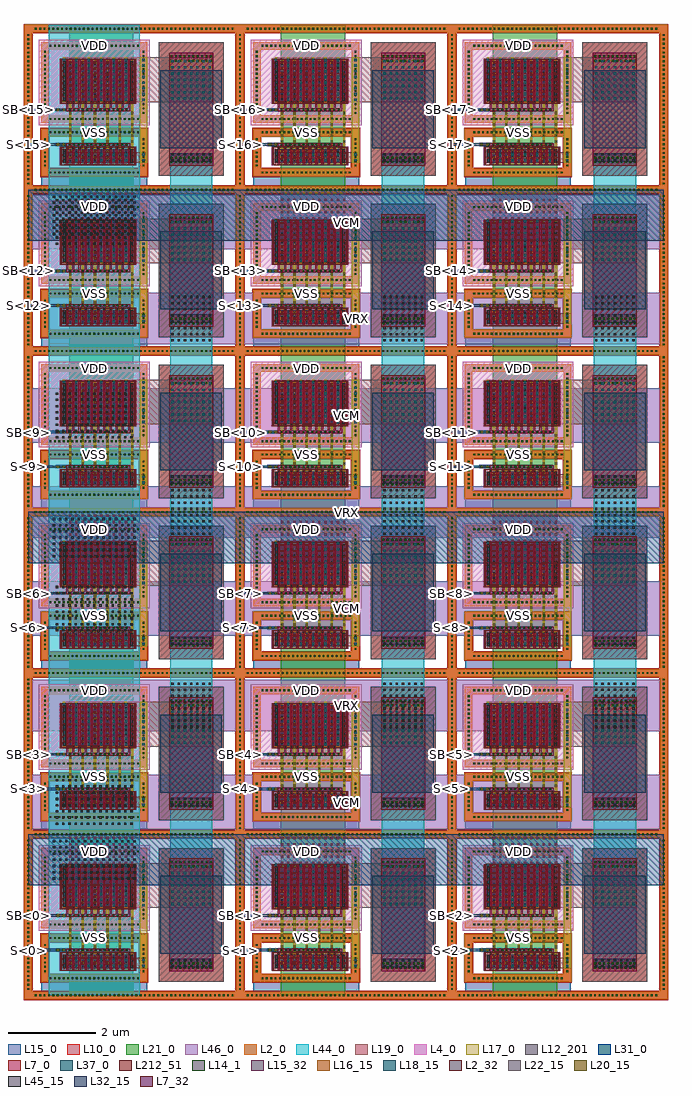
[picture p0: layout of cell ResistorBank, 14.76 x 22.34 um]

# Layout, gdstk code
import gdstk
lib = gdstk.Library(unit=1e-6, precision=1e-09)
def R(c, l, rs):  # rectangles x0, y0, x1, y1
    for r in rs: c.add(gdstk.rectangle(r[:2], r[2:], *l))
def A(c, l, x, y, w, h, nx, ny, dx, dy):  # array of equal rectangles
    R(c, l, [(x+i*dx, y+j*dy, x+i*dx+w, y+j*dy+h) for i in range(nx) for j in range(ny)])
L2_0 = (2, 0)
L2_32 = (2, 32)
L4_0 = (4, 0)
L7_0 = (7, 0)
L7_32 = (7, 32)
L10_0 = (10, 0)
L12_201 = (12, 201)
L14_1 = (14, 1)
L15_0 = (15, 0)
L15_32 = (15, 32)
L16_15 = (16, 15)
L17_0 = (17, 0)
L18_15 = (18, 15)
L19_0 = (19, 0)
L20_15 = (20, 15)
L21_0 = (21, 0)
L22_15 = (22, 15)
L31_0 = (31, 0)
L32_15 = (32, 15)
L37_0 = (37, 0)
L44_0 = (44, 0)
L45_15 = (45, 15)
L46_0 = (46, 0)
L212_51 = (212, 51)

nmosintransmissiongate = lib.new_cell('NMOSInTransmissionGate')
R(nmosintransmissiongate, L2_0, [(-0.809,-0.154,0.809,0.154)])
R(nmosintransmissiongate, L2_32, [(-0.809,-0.154,-0.733,0.154), (0.733,-0.154,0.809,0.154)])
A(nmosintransmissiongate, L7_0, -0.875, -0.211, 0.046, 0.422, 13, 1, 0.142, 0)
A(nmosintransmissiongate, L7_32, -0.733, -0.211, 0.046, 0.057, 11, 1, 0.142, 0)
A(nmosintransmissiongate, L14_1, -0.801, -0.12, 0.04, 0.04, 12, 3, 0.142, 0.1)
A(nmosintransmissiongate, L15_0, -0.806, -0.154, 0.05, 0.308, 12, 1, 0.142, 0)
A(nmosintransmissiongate, L15_32, -0.806, -0.154, 0.05, 0.308, 12, 1, 0.142, 0)
R(nmosintransmissiongate, L212_51, [(-0.852,-0.21,0.852,0.21)])

pmosintransmissiongate = lib.new_cell('PMOSInTransmissionGate')
R(pmosintransmissiongate, L2_0, [(-0.809,-0.462,0.809,0.462)])
R(pmosintransmissiongate, L2_32, [(-0.809,-0.462,-0.733,0.462), (0.733,-0.462,0.809,0.462)])
A(pmosintransmissiongate, L7_0, -0.875, -0.519, 0.046, 1.038, 13, 1, 0.142, 0)
A(pmosintransmissiongate, L7_32, -0.733, -0.519, 0.046, 0.057, 11, 1, 0.142, 0)
R(pmosintransmissiongate, L10_0, [(-0.865,-0.519,0.865,0.519)])
A(pmosintransmissiongate, L14_1, -0.801, -0.42, 0.04, 0.04, 12, 9, 0.142, 0.1)
A(pmosintransmissiongate, L15_0, -0.806, -0.462, 0.05, 0.924, 12, 1, 0.142, 0)
A(pmosintransmissiongate, L15_32, -0.806, -0.462, 0.05, 0.924, 12, 1, 0.142, 0)
R(pmosintransmissiongate, L212_51, [(-0.852,-0.518,0.852,0.518)])

viamet12met2onpmosoutput = lib.new_cell('ViaMet12Met2OnPMOSOutputInTransmissionGate')
R(viamet12met2onpmosoutput, L15_0, [(-0.025,-0.512,0.025,0.512)])
A(viamet12met2onpmosoutput, L16_15, -0.025, -0.48, 0.05, 0.05, 1, 8, 0, 0.13)
R(viamet12met2onpmosoutput, L17_0, [(-0.025,-0.512,0.025,0.512)])

viamet22met3onpmosoutput = lib.new_cell('ViaMet22Met3OnPMOSOutputInTransmissionGate')
R(viamet22met3onpmosoutput, L17_0, [(-0.025,-0.512,0.025,0.512)])
A(viamet22met3onpmosoutput, L18_15, -0.025, -0.48, 0.05, 0.05, 1, 8, 0, 0.13)
R(viamet22met3onpmosoutput, L19_0, [(-0.025,-0.512,0.025,0.512)])

viamet12met2onnmosoutput = lib.new_cell('ViaMet12Met2OnNMOSOutputInTransmissionGate')
R(viamet12met2onnmosoutput, L15_0, [(-0.025,-0.122,0.025,0.122)])
R(viamet12met2onnmosoutput, L16_15, [(-0.025,-0.09,0.025,-0.04), (-0.025,0.04,0.025,0.09)])
R(viamet12met2onnmosoutput, L17_0, [(-0.025,-0.122,0.025,0.122)])

viamet22met3onnmosoutput = lib.new_cell('ViaMet22Met3OnNMOSOutputInTransmissionGate')
R(viamet22met3onnmosoutput, L17_0, [(-0.025,-0.122,0.025,0.122)])
R(viamet22met3onnmosoutput, L18_15, [(-0.025,-0.09,0.025,-0.04), (-0.025,0.04,0.025,0.09)])
R(viamet22met3onnmosoutput, L19_0, [(-0.025,-0.122,0.025,0.122)])

viapoly2met1onpmoscontro = lib.new_cell('ViaPoly2Met1OnPMOSControlInTransmissionGate')
R(viapoly2met1onpmoscontro, L7_0, [(-0.68,-0.03,0.68,0.03)])
A(viapoly2met1onpmoscontro, L14_1, -0.67, -0.02, 0.04, 0.04, 14, 1, 0.1, 0)
R(viapoly2met1onpmoscontro, L15_0, [(-0.691,-0.041,0.691,0.041)])

viapoly2met1onnmoscontro = lib.new_cell('ViaPoly2Met1OnNMOSControlInTransmissionGate')
R(viapoly2met1onnmoscontro, L7_0, [(-0.68,-0.03,0.68,0.03)])
A(viapoly2met1onnmoscontro, L14_1, -0.67, -0.02, 0.04, 0.04, 14, 1, 0.1, 0)
R(viapoly2met1onnmoscontro, L15_0, [(-0.691,-0.041,0.691,0.041)])

transmissiongateinresist = lib.new_cell('TransmissionGateInResistorBank')
transmissiongateinresist.add(gdstk.FlexPath([(-0.71,0.379),(-0.71,0.674)], 0.046, ends="flush", simple_path=True, layer=7, datatype=0))  # L7_0
transmissiongateinresist.add(gdstk.FlexPath([(-0.568,0.379),(-0.568,0.674)], 0.046, ends="flush", simple_path=True, layer=7, datatype=0))  # L7_0
transmissiongateinresist.add(gdstk.FlexPath([(-0.426,0.379),(-0.426,0.674)], 0.046, ends="flush", simple_path=True, layer=7, datatype=0))  # L7_0
transmissiongateinresist.add(gdstk.FlexPath([(-0.284,0.379),(-0.284,0.674)], 0.046, ends="flush", simple_path=True, layer=7, datatype=0))  # L7_0
transmissiongateinresist.add(gdstk.FlexPath([(-0.142,0.379),(-0.142,0.674)], 0.046, ends="flush", simple_path=True, layer=7, datatype=0))  # L7_0
transmissiongateinresist.add(gdstk.FlexPath([(0,0.379),(0,0.674)], 0.046, ends="flush", simple_path=True, layer=7, datatype=0))  # L7_0
transmissiongateinresist.add(gdstk.FlexPath([(0.142,0.379),(0.142,0.674)], 0.046, ends="flush", simple_path=True, layer=7, datatype=0))  # L7_0
transmissiongateinresist.add(gdstk.FlexPath([(0.284,0.379),(0.284,0.674)], 0.046, ends="flush", simple_path=True, layer=7, datatype=0))  # L7_0
transmissiongateinresist.add(gdstk.FlexPath([(0.426,0.379),(0.426,0.674)], 0.046, ends="flush", simple_path=True, layer=7, datatype=0))  # L7_0
transmissiongateinresist.add(gdstk.FlexPath([(0.568,0.379),(0.568,0.674)], 0.046, ends="flush", simple_path=True, layer=7, datatype=0))  # L7_0
transmissiongateinresist.add(gdstk.FlexPath([(0.71,0.379),(0.71,0.674)], 0.046, ends="flush", simple_path=True, layer=7, datatype=0))  # L7_0
transmissiongateinresist.add(gdstk.FlexPath([(-0.71,2.092),(-0.71,1.407)], 0.046, ends="flush", simple_path=True, layer=7, datatype=0))  # L7_0
transmissiongateinresist.add(gdstk.FlexPath([(-0.568,2.092),(-0.568,1.407)], 0.046, ends="flush", simple_path=True, layer=7, datatype=0))  # L7_0
transmissiongateinresist.add(gdstk.FlexPath([(-0.426,2.092),(-0.426,1.407)], 0.046, ends="flush", simple_path=True, layer=7, datatype=0))  # L7_0
transmissiongateinresist.add(gdstk.FlexPath([(-0.284,2.092),(-0.284,1.407)], 0.046, ends="flush", simple_path=True, layer=7, datatype=0))  # L7_0
transmissiongateinresist.add(gdstk.FlexPath([(-0.142,2.092),(-0.142,1.407)], 0.046, ends="flush", simple_path=True, layer=7, datatype=0))  # L7_0
transmissiongateinresist.add(gdstk.FlexPath([(0,2.092),(0,1.407)], 0.046, ends="flush", simple_path=True, layer=7, datatype=0))  # L7_0
transmissiongateinresist.add(gdstk.FlexPath([(0.142,2.092),(0.142,1.407)], 0.046, ends="flush", simple_path=True, layer=7, datatype=0))  # L7_0
transmissiongateinresist.add(gdstk.FlexPath([(0.284,2.092),(0.284,1.407)], 0.046, ends="flush", simple_path=True, layer=7, datatype=0))  # L7_0
transmissiongateinresist.add(gdstk.FlexPath([(0.426,2.092),(0.426,1.407)], 0.046, ends="flush", simple_path=True, layer=7, datatype=0))  # L7_0
transmissiongateinresist.add(gdstk.FlexPath([(0.568,2.092),(0.568,1.407)], 0.046, ends="flush", simple_path=True, layer=7, datatype=0))  # L7_0
transmissiongateinresist.add(gdstk.FlexPath([(0.71,2.092),(0.71,1.407)], 0.046, ends="flush", simple_path=True, layer=7, datatype=0))  # L7_0
transmissiongateinresist.add(gdstk.FlexPath([(-0.71,0.644),(0.71,0.644)], 0.06, ends="flush", simple_path=True, layer=7, datatype=0))  # L7_0
transmissiongateinresist.add(gdstk.FlexPath([(-0.71,1.437),(0.71,1.437)], 0.06, ends="flush", simple_path=True, layer=7, datatype=0))  # L7_0
transmissiongateinresist.add(gdstk.Reference(nmosintransmissiongate, (0,0.379), x_reflection=True))
transmissiongateinresist.add(gdstk.Reference(pmosintransmissiongate, (0,2.092)))
transmissiongateinresist.add(gdstk.Reference(viamet12met2onpmosoutput, (-0.639,2.06)))
transmissiongateinresist.add(gdstk.Reference(viamet12met2onpmosoutput, (-0.355,2.06)))
transmissiongateinresist.add(gdstk.Reference(viamet12met2onpmosoutput, (-0.071,2.06)))
transmissiongateinresist.add(gdstk.Reference(viamet12met2onpmosoutput, (0.213,2.06)))
transmissiongateinresist.add(gdstk.Reference(viamet12met2onpmosoutput, (0.497,2.06)))
transmissiongateinresist.add(gdstk.Reference(viamet12met2onpmosoutput, (0.781,2.06)))
transmissiongateinresist.add(gdstk.Reference(viamet12met2onpmosoutput, (-0.781,2.124)))
transmissiongateinresist.add(gdstk.Reference(viamet12met2onpmosoutput, (-0.497,2.124)))
transmissiongateinresist.add(gdstk.Reference(viamet12met2onpmosoutput, (-0.213,2.124)))
transmissiongateinresist.add(gdstk.Reference(viamet12met2onpmosoutput, (0.071,2.124)))
transmissiongateinresist.add(gdstk.Reference(viamet12met2onpmosoutput, (0.355,2.124)))
transmissiongateinresist.add(gdstk.Reference(viamet12met2onpmosoutput, (0.639,2.124)))
transmissiongateinresist.add(gdstk.Reference(viamet22met3onpmosoutput, (-0.781,2.124)))
transmissiongateinresist.add(gdstk.Reference(viamet22met3onpmosoutput, (-0.497,2.124)))
transmissiongateinresist.add(gdstk.Reference(viamet22met3onpmosoutput, (-0.213,2.124)))
transmissiongateinresist.add(gdstk.Reference(viamet22met3onpmosoutput, (0.071,2.124)))
transmissiongateinresist.add(gdstk.Reference(viamet22met3onpmosoutput, (0.355,2.124)))
transmissiongateinresist.add(gdstk.Reference(viamet22met3onpmosoutput, (0.639,2.124)))
transmissiongateinresist.add(gdstk.Reference(viamet12met2onnmosoutput, (-0.639,0.411)))
transmissiongateinresist.add(gdstk.Reference(viamet12met2onnmosoutput, (-0.355,0.411)))
transmissiongateinresist.add(gdstk.Reference(viamet12met2onnmosoutput, (-0.071,0.411)))
transmissiongateinresist.add(gdstk.Reference(viamet12met2onnmosoutput, (0.213,0.411)))
transmissiongateinresist.add(gdstk.Reference(viamet12met2onnmosoutput, (0.497,0.411)))
transmissiongateinresist.add(gdstk.Reference(viamet12met2onnmosoutput, (0.781,0.411)))
transmissiongateinresist.add(gdstk.Reference(viamet12met2onnmosoutput, (-0.781,0.347)))
transmissiongateinresist.add(gdstk.Reference(viamet12met2onnmosoutput, (-0.497,0.347)))
transmissiongateinresist.add(gdstk.Reference(viamet12met2onnmosoutput, (-0.213,0.347)))
transmissiongateinresist.add(gdstk.Reference(viamet12met2onnmosoutput, (0.071,0.347)))
transmissiongateinresist.add(gdstk.Reference(viamet12met2onnmosoutput, (0.355,0.347)))
transmissiongateinresist.add(gdstk.Reference(viamet12met2onnmosoutput, (0.639,0.347)))
transmissiongateinresist.add(gdstk.Reference(viamet22met3onnmosoutput, (-0.781,0.347)))
transmissiongateinresist.add(gdstk.Reference(viamet22met3onnmosoutput, (-0.497,0.347)))
transmissiongateinresist.add(gdstk.Reference(viamet22met3onnmosoutput, (-0.213,0.347)))
transmissiongateinresist.add(gdstk.Reference(viamet22met3onnmosoutput, (0.071,0.347)))
transmissiongateinresist.add(gdstk.Reference(viamet22met3onnmosoutput, (0.355,0.347)))
transmissiongateinresist.add(gdstk.Reference(viamet22met3onnmosoutput, (0.639,0.347)))
transmissiongateinresist.add(gdstk.Reference(viapoly2met1onpmoscontro, (0,1.437)))
transmissiongateinresist.add(gdstk.Reference(viapoly2met1onnmoscontro, (0,0.644)))

viamet12met2oninputinres = lib.new_cell('ViaMet12Met2OnInputInResistorBank')
R(viamet12met2oninputinres, L15_0, [(-0.122,-0.025,0.122,0.025)])
R(viamet12met2oninputinres, L16_15, [(-0.09,-0.025,-0.04,0.025), (0.04,-0.025,0.09,0.025)])
R(viamet12met2oninputinres, L17_0, [(-0.122,-0.025,0.122,0.025)])

viamet22met3oninputinres = lib.new_cell('ViaMet22Met3OnInputInResistorBank')
R(viamet22met3oninputinres, L17_0, [(-0.122,-0.025,0.122,0.025)])
R(viamet22met3oninputinres, L18_15, [(-0.09,-0.025,-0.04,0.025), (0.04,-0.025,0.09,0.025)])
R(viamet22met3oninputinres, L19_0, [(-0.122,-0.025,0.122,0.025)])

viamet32met4oninputinres = lib.new_cell('ViaMet32Met4OnInputInResistorBank')
R(viamet32met4oninputinres, L19_0, [(-0.122,-0.025,0.122,0.025)])
R(viamet32met4oninputinres, L20_15, [(-0.09,-0.025,-0.04,0.025), (0.04,-0.025,0.09,0.025)])
R(viamet32met4oninputinres, L21_0, [(-0.122,-0.025,0.122,0.025)])

viamet42met5oninputinres = lib.new_cell('ViaMet42Met5OnInputInResistorBank')
R(viamet42met5oninputinres, L21_0, [(-0.122,-0.025,0.122,0.025)])
R(viamet42met5oninputinres, L22_15, [(-0.09,-0.025,-0.04,0.025), (0.04,-0.025,0.09,0.025)])
R(viamet42met5oninputinres, L31_0, [(-0.122,-0.025,0.122,0.025)])

opppcresinresistorbank = lib.new_cell('OpppcresInResistorBank')
R(opppcresinresistorbank, L7_0, [(-0.504,-1.289,0.504,1.289)])
R(opppcresinresistorbank, L10_0, [(-0.744,-1.529,0.744,1.529)])
R(opppcresinresistorbank, L12_201, [(-0.744,-1.529,0.744,1.529)])
A(opppcresinresistorbank, L14_1, -0.47, -1.229, 0.04, 0.04, 10, 2, 0.1, 0.1)
A(opppcresinresistorbank, L14_1, -0.47, 1.089, 0.04, 0.04, 10, 2, 0.1, 0.1)
R(opppcresinresistorbank, L15_0, [(-0.482,-1.241,0.482,-1.077), (-0.482,1.077,0.482,1.241)])
R(opppcresinresistorbank, L37_0, [(-0.704,-0.889,0.704,0.889)])

pmossubringinresistorban = lib.new_cell('PMOSSubringInResistorBank')
R(pmossubringinresistorban, L2_0, [(-1.214,-0.922,1.214,-0.752), (-1.214,-0.922,-1.044,0.922), (1.044,-0.922,1.214,0.922), (-1.214,0.752,1.214,0.922)])
A(pmossubringinresistorban, L14_1, -1.02, -0.857, 0.04, 0.04, 21, 2, 0.1, 1.674)
A(pmossubringinresistorban, L14_1, -1.149, -0.72, 0.04, 0.04, 1, 15, 0, 0.1)
A(pmossubringinresistorban, L14_1, 1.109, -0.72, 0.04, 0.04, 1, 15, 0, 0.1)
R(pmossubringinresistorban, L15_0, [(-1.214,-0.922,1.214,-0.752), (-1.214,-0.922,-1.044,0.922), (1.044,-0.922,1.214,0.922), (-1.214,0.752,1.214,0.922)])
pmossubringinresistorban.add(gdstk.FlexPath([(1.129,0.978),(1.129,-0.837),(-1.129,-0.837),(-1.129,0.837),(1.27,0.837)], 0.282, ends="flush", simple_path=True, layer=4, datatype=0))  # L4_0

nmossubringinresistorban = lib.new_cell('NMOSSubringInResistorBank')
R(nmossubringinresistorban, L2_0, [(-1.214,-0.546,1.214,-0.376), (-1.214,-0.546,-1.044,0.546), (1.044,-0.546,1.214,0.546), (-1.214,0.376,1.214,0.546)])
A(nmossubringinresistorban, L14_1, -1.02, -0.481, 0.04, 0.04, 21, 2, 0.1, 0.922)
A(nmossubringinresistorban, L14_1, -1.149, -0.32, 0.04, 0.04, 1, 7, 0, 0.1)
A(nmossubringinresistorban, L14_1, 1.109, -0.32, 0.04, 0.04, 1, 7, 0, 0.1)
R(nmossubringinresistorban, L15_0, [(-1.214,-0.546,1.214,-0.376), (-1.214,-0.546,-1.044,0.546), (1.044,-0.546,1.214,0.546), (-1.214,0.376,1.214,0.546)])
nmossubringinresistorban.add(gdstk.FlexPath([(1.129,0.567),(1.129,-0.461),(-1.129,-0.461),(-1.129,0.461),(1.235,0.461)], 0.212, ends="flush", simple_path=True, layer=10, datatype=0))  # L10_0

totalsubringinresistorba = lib.new_cell('TotalSubringInResistorBank')
R(totalsubringinresistorba, L2_0, [(-2.51,-1.929,2.51,-1.759), (-2.51,-1.929,-2.34,1.929), (2.34,-1.929,2.51,1.929), (-2.51,1.759,2.51,1.929)])
A(totalsubringinresistorba, L14_1, -2.27, -1.864, 0.04, 0.04, 46, 2, 0.1, 3.688)
A(totalsubringinresistorba, L14_1, -2.445, -1.72, 0.04, 0.04, 1, 35, 0, 0.1)
A(totalsubringinresistorba, L14_1, 2.405, -1.72, 0.04, 0.04, 1, 35, 0, 0.1)
R(totalsubringinresistorba, L15_0, [(-2.51,-1.929,2.51,-1.759), (-2.51,-1.929,-2.34,1.929), (2.34,-1.929,2.51,1.929), (-2.51,1.759,2.51,1.929)])
totalsubringinresistorba.add(gdstk.FlexPath([(2.425,1.95),(2.425,-1.844),(-2.425,-1.844),(-2.425,1.844),(2.531,1.844)], 0.212, ends="flush", simple_path=True, layer=10, datatype=0))  # L10_0

viamet12met2onresistorin = lib.new_cell('ViaMet12Met2OnResistorInResistorBank')
R(viamet12met2onresistorin, L15_0, [(-0.483,-0.451,0.483,0.451)])
A(viamet12met2onresistorin, L16_15, -0.451, -0.451, 0.05, 0.05, 7, 7, 0.142, 0.142)
R(viamet12met2onresistorin, L17_0, [(-0.483,-0.451,0.483,0.451)])

viamet12met2onresistor1i = lib.new_cell('ViaMet12Met2OnResistor1InResistorBank')
R(viamet12met2onresistor1i, L15_0, [(-0.483,-0.096,0.483,0.096)])
A(viamet12met2onresistor1i, L16_15, -0.451, -0.096, 0.05, 0.05, 7, 2, 0.142, 0.142)
R(viamet12met2onresistor1i, L17_0, [(-0.483,-0.096,0.483,0.096)])

viamet22met3onresistorin = lib.new_cell('ViaMet22Met3OnResistorInResistorBank')
R(viamet22met3onresistorin, L17_0, [(-0.483,-0.451,0.483,0.451)])
A(viamet22met3onresistorin, L18_15, -0.451, -0.451, 0.05, 0.05, 7, 7, 0.142, 0.142)
R(viamet22met3onresistorin, L19_0, [(-0.483,-0.451,0.483,0.451)])

viamet22met3onresistor1i = lib.new_cell('ViaMet22Met3OnResistor1InResistorBank')
R(viamet22met3onresistor1i, L17_0, [(-0.483,-0.096,0.483,0.096)])
A(viamet22met3onresistor1i, L18_15, -0.451, -0.096, 0.05, 0.05, 7, 2, 0.142, 0.142)
R(viamet22met3onresistor1i, L19_0, [(-0.483,-0.096,0.483,0.096)])

viamet32met4onresistorin = lib.new_cell('ViaMet32Met4OnResistorInResistorBank')
R(viamet32met4onresistorin, L19_0, [(-0.483,-0.096,0.483,0.096)])
A(viamet32met4onresistorin, L20_15, -0.451, -0.096, 0.05, 0.05, 7, 2, 0.142, 0.142)
R(viamet32met4onresistorin, L21_0, [(-0.483,-0.096,0.483,0.096)])

viamet42met5onresistorin = lib.new_cell('ViaMet42Met5OnResistorInResistorBank')
R(viamet42met5onresistorin, L21_0, [(-0.483,-0.096,0.483,0.096)])
A(viamet42met5onresistorin, L22_15, -0.451, -0.096, 0.05, 0.05, 7, 2, 0.142, 0.142)
R(viamet42met5onresistorin, L31_0, [(-0.483,-0.096,0.483,0.096)])

viamet52met6onresistorin = lib.new_cell('ViaMet52Met6OnResistorInResistorBank')
R(viamet52met6onresistorin, L31_0, [(-0.483,-0.096,0.483,0.096)])
A(viamet52met6onresistorin, L32_15, -0.451, -0.096, 0.05, 0.05, 7, 2, 0.142, 0.142)
R(viamet52met6onresistorin, L44_0, [(-0.483,-0.096,0.483,0.096)])

viavcmmet22met3inresisto = lib.new_cell('ViaVCMMet22Met3InResistorBank')
R(viavcmmet22met3inresisto, L17_0, [(-0.025,-0.382,0.025,0.382)])
A(viavcmmet22met3inresisto, L18_15, -0.025, -0.35, 0.05, 0.05, 1, 6, 0, 0.13)
R(viavcmmet22met3inresisto, L19_0, [(-0.025,-0.382,0.025,0.382)])

viavcmmet32met4inresisto = lib.new_cell('ViaVCMMet32Met4InResistorBank')
R(viavcmmet32met4inresisto, L19_0, [(-0.025,-0.382,0.025,0.382)])
A(viavcmmet32met4inresisto, L20_15, -0.025, -0.35, 0.05, 0.05, 1, 6, 0, 0.13)
R(viavcmmet32met4inresisto, L21_0, [(-0.025,-0.382,0.025,0.382)])

viatgpmos2resmet22met3in = lib.new_cell('ViaTGPMOS2ResMet22Met3InResistorBank')
R(viatgpmos2resmet22met3in, L17_0, [(-0.057,-0.48,0.057,0.48)])
A(viatgpmos2resmet22met3in, L18_15, -0.025, -0.48, 0.05, 0.05, 1, 8, 0, 0.13)
R(viatgpmos2resmet22met3in, L19_0, [(-0.057,-0.48,0.057,0.48)])

viatgnmos2resmet22met3in = lib.new_cell('ViaTGNMOS2ResMet22Met3InResistorBank')
R(viatgnmos2resmet22met3in, L17_0, [(-0.057,-0.09,0.057,0.09)])
R(viatgnmos2resmet22met3in, L18_15, [(-0.025,-0.09,0.025,-0.04), (-0.025,0.04,0.025,0.09)])
R(viatgnmos2resmet22met3in, L19_0, [(-0.057,-0.09,0.057,0.09)])

resistorbankinfullresist = lib.new_cell('ResistorBankInFullResistorBank')
R(resistorbankinfullresist, L15_0, [(-1.302,-0.478,1.124,0.084)])
A(resistorbankinfullresist, L17_0, -0.664, 0.289, 0.05, 2.284, 6, 1, 0.284, 0)
R(resistorbankinfullresist, L21_0, [(-0.639,0.658,0.781,1.422)])
resistorbankinfullresist.add(gdstk.FlexPath([(-0.852,1.437),(-1.601,1.437)], 0.05, ends="flush", simple_path=True, layer=31, datatype=0))  # L31_0
resistorbankinfullresist.add(gdstk.FlexPath([(-0.852,0.644),(-1.601,0.644)], 0.05, ends="flush", simple_path=True, layer=31, datatype=0))  # L31_0
resistorbankinfullresist.add(gdstk.FlexPath([(-1.132,2.065),(0.954,2.065)], 1.504, ends="flush", simple_path=True, layer=4, datatype=0))  # L4_0
resistorbankinfullresist.add(gdstk.FlexPath([(-0.974,1.437),(0,1.437)], 0.082, ends="flush", simple_path=True, layer=15, datatype=0))  # L15_0
resistorbankinfullresist.add(gdstk.FlexPath([(-0.974,0.644),(0,0.644)], 0.082, ends="flush", simple_path=True, layer=15, datatype=0))  # L15_0
resistorbankinfullresist.add(gdstk.FlexPath([(2.13,1.673),(2.13,2.692)], 0.966, ends="flush", simple_path=True, layer=15, datatype=0))  # L15_0
resistorbankinfullresist.add(gdstk.FlexPath([(2.13,0.443),(2.13,0.21)], 0.966, ends="flush", simple_path=True, layer=15, datatype=0))  # L15_0
resistorbankinfullresist.add(gdstk.FlexPath([(-0.781,2.124),(2.613,2.124)], 1.024, ends="flush", simple_path=True, layer=19, datatype=0))  # L19_0
resistorbankinfullresist.add(gdstk.FlexPath([(-0.781,0.347),(1.125,0.347)], 0.244, ends="flush", simple_path=True, layer=19, datatype=0))  # L19_0
resistorbankinfullresist.add(gdstk.FlexPath([(1.04,2.636),(1.04,0.225)], 0.17, ends="flush", simple_path=True, layer=17, datatype=0))  # L17_0
resistorbankinfullresist.add(gdstk.Reference(transmissiongateinresist, (0,0)))
resistorbankinfullresist.add(gdstk.Reference(viamet12met2oninputinres, (-0.852,1.437)))
resistorbankinfullresist.add(gdstk.Reference(viamet12met2oninputinres, (-0.852,0.644)))
resistorbankinfullresist.add(gdstk.Reference(viamet22met3oninputinres, (-0.852,1.437)))
resistorbankinfullresist.add(gdstk.Reference(viamet22met3oninputinres, (-0.852,0.644)))
resistorbankinfullresist.add(gdstk.Reference(viamet32met4oninputinres, (-0.852,1.437)))
resistorbankinfullresist.add(gdstk.Reference(viamet32met4oninputinres, (-0.852,0.644)))
resistorbankinfullresist.add(gdstk.Reference(viamet42met5oninputinres, (-0.852,1.437)))
resistorbankinfullresist.add(gdstk.Reference(viamet42met5oninputinres, (-0.852,0.644)))
resistorbankinfullresist.add(gdstk.Reference(opppcresinresistorbank, (2.13,1.451)))
resistorbankinfullresist.add(gdstk.Reference(pmossubringinresistorban, (-0.089,2.065)))
resistorbankinfullresist.add(gdstk.Reference(nmossubringinresistorban, (-0.089,0.461)))
resistorbankinfullresist.add(gdstk.Reference(totalsubringinresistorba, (0.824,1.451)))
resistorbankinfullresist.add(gdstk.Reference(viamet12met2onresistorin, (2.13,2.124)))
resistorbankinfullresist.add(gdstk.Reference(viamet12met2onresistor1i, (2.13,0.347)))
resistorbankinfullresist.add(gdstk.Reference(viamet22met3onresistorin, (2.13,2.124)))
resistorbankinfullresist.add(gdstk.Reference(viamet22met3onresistor1i, (2.13,0.347)))
resistorbankinfullresist.add(gdstk.Reference(viamet32met4onresistorin, (2.13,0.347)))
resistorbankinfullresist.add(gdstk.Reference(viamet42met5onresistorin, (2.13,0.347)))
resistorbankinfullresist.add(gdstk.Reference(viamet52met6onresistorin, (2.13,0.347)))
resistorbankinfullresist.add(gdstk.Reference(viavcmmet22met3inresisto, (-0.639,1.04)))
resistorbankinfullresist.add(gdstk.Reference(viavcmmet22met3inresisto, (-0.355,1.04)))
resistorbankinfullresist.add(gdstk.Reference(viavcmmet22met3inresisto, (-0.071,1.04)))
resistorbankinfullresist.add(gdstk.Reference(viavcmmet22met3inresisto, (0.213,1.04)))
resistorbankinfullresist.add(gdstk.Reference(viavcmmet22met3inresisto, (0.497,1.04)))
resistorbankinfullresist.add(gdstk.Reference(viavcmmet22met3inresisto, (0.781,1.04)))
resistorbankinfullresist.add(gdstk.Reference(viavcmmet32met4inresisto, (-0.639,1.04)))
resistorbankinfullresist.add(gdstk.Reference(viavcmmet32met4inresisto, (-0.355,1.04)))
resistorbankinfullresist.add(gdstk.Reference(viavcmmet32met4inresisto, (-0.071,1.04)))
resistorbankinfullresist.add(gdstk.Reference(viavcmmet32met4inresisto, (0.213,1.04)))
resistorbankinfullresist.add(gdstk.Reference(viavcmmet32met4inresisto, (0.497,1.04)))
resistorbankinfullresist.add(gdstk.Reference(viavcmmet32met4inresisto, (0.781,1.04)))
resistorbankinfullresist.add(gdstk.Reference(viatgpmos2resmet22met3in, (1.04,2.124)))
resistorbankinfullresist.add(gdstk.Reference(viatgnmos2resmet22met3in, (1.04,0.347)))
resistorbankinfullresist.add(gdstk.Label('VDD', (-0.089,2.902), layer=15, texttype=20))
resistorbankinfullresist.add(gdstk.Label('VSS', (-0.089,-0.197), layer=15, texttype=20))
resistorbankinfullresist.add(gdstk.Label('S', (-1.601,0.644), layer=31, texttype=20))
resistorbankinfullresist.add(gdstk.Label('SB', (-1.601,1.437), layer=31, texttype=20))
resistorbankinfullresist.add(gdstk.Label('VRX', (2.13,0.347), layer=44, texttype=20))
resistorbankinfullresist.add(gdstk.Label('VCM', (0.071,1.04), layer=21, texttype=20))

viamet42met5onvcminfullr = lib.new_cell('ViaMet42Met5OnVCMInFullResistorBank')
R(viamet42met5onvcminfullr, L21_0, [(-0.735,-0.554,0.735,0.554)])
A(viamet42met5onvcminfullr, L22_15, -0.735, -0.522, 0.05, 0.05, 11, 8, 0.142, 0.142)
R(viamet42met5onvcminfullr, L31_0, [(-0.735,-0.554,0.735,0.554)])

viamet52met6onvcminfullr = lib.new_cell('ViaMet52Met6OnVCMInFullResistorBank')
R(viamet52met6onvcminfullr, L31_0, [(-0.948,-0.483,0.948,0.483)])
A(viamet52met6onvcminfullr, L32_15, -0.948, -0.451, 0.05, 0.05, 14, 7, 0.142, 0.142)
R(viamet52met6onvcminfullr, L44_0, [(-0.948,-0.483,0.948,0.483)])

viamet62met7onvrxinfullr = lib.new_cell('ViaMet62Met7OnVRXInFullResistorBank')
R(viamet62met7onvrxinfullr, L44_0, [(-0.451,-0.554,0.451,0.554)])
A(viamet62met7onvrxinfullr, L45_15, -0.451, -0.522, 0.05, 0.05, 7, 8, 0.142, 0.142)
R(viamet62met7onvrxinfullr, L46_0, [(-0.451,-0.554,0.451,0.554)])

viamet62met7onvcminfullr = lib.new_cell('ViaMet62Met7OnVCMInFullResistorBank')
R(viamet62met7onvcminfullr, L44_0, [(-0.909,-0.522,0.909,0.522)])
A(viamet62met7onvcminfullr, L45_15, -0.877, -0.522, 0.05, 0.05, 13, 8, 0.142, 0.142)
R(viamet62met7onvcminfullr, L46_0, [(-0.909,-0.522,0.909,0.522)])

resistorbank = lib.new_cell('ResistorBank')
resistorbank.add(gdstk.FlexPath([(0.071,-0.392),(0.071,21.82)], 1.47, ends="flush", simple_path=True, layer=21, datatype=0))  # L21_0
resistorbank.add(gdstk.FlexPath([(4.921,-0.392),(4.921,21.82)], 1.47, ends="flush", simple_path=True, layer=21, datatype=0))  # L21_0
resistorbank.add(gdstk.FlexPath([(9.771,-0.392),(9.771,21.82)], 1.47, ends="flush", simple_path=True, layer=21, datatype=0))  # L21_0
resistorbank.add(gdstk.FlexPath([(-1.601,2.71),(12.949,2.71)], 1.172, ends="flush", simple_path=True, layer=31, datatype=0))  # L31_0
resistorbank.add(gdstk.FlexPath([(-1.601,10.086),(12.949,10.086)], 1.172, ends="flush", simple_path=True, layer=31, datatype=0))  # L31_0
resistorbank.add(gdstk.FlexPath([(-1.601,17.462),(12.949,17.462)], 1.172, ends="flush", simple_path=True, layer=31, datatype=0))  # L31_0
resistorbank.add(gdstk.FlexPath([(-0.088,-0.392),(-0.088,21.82)], 2.088, ends="flush", simple_path=True, layer=44, datatype=0))  # L44_0
resistorbank.add(gdstk.FlexPath([(2.13,0.347),(2.13,18.787)], 0.966, ends="flush", simple_path=True, layer=44, datatype=0))  # L44_0
resistorbank.add(gdstk.FlexPath([(6.98,0.347),(6.98,18.787)], 0.966, ends="flush", simple_path=True, layer=44, datatype=0))  # L44_0
resistorbank.add(gdstk.FlexPath([(11.83,0.347),(11.83,18.787)], 0.966, ends="flush", simple_path=True, layer=44, datatype=0))  # L44_0
resistorbank.add(gdstk.FlexPath([(-1.601,4.032),(12.949,4.032)], 1.25, ends="flush", simple_path=True, layer=46, datatype=0))  # L46_0
resistorbank.add(gdstk.FlexPath([(-1.601,8.458),(12.949,8.458)], 1.25, ends="flush", simple_path=True, layer=46, datatype=0))  # L46_0
resistorbank.add(gdstk.FlexPath([(-1.601,12.882),(12.949,12.882)], 1.25, ends="flush", simple_path=True, layer=46, datatype=0))  # L46_0
resistorbank.add(gdstk.FlexPath([(-1.601,17.308),(12.949,17.308)], 1.25, ends="flush", simple_path=True, layer=46, datatype=0))  # L46_0
resistorbank.add(gdstk.FlexPath([(-1.601,6.246),(12.949,6.246)], 1.176, ends="flush", simple_path=True, layer=46, datatype=0))  # L46_0
resistorbank.add(gdstk.FlexPath([(-1.601,10.67),(12.949,10.67)], 1.176, ends="flush", simple_path=True, layer=46, datatype=0))  # L46_0
resistorbank.add(gdstk.FlexPath([(-1.132,15.096),(12.949,15.096)], 1.176, ends="flush", simple_path=True, layer=46, datatype=0))  # L46_0
resistorbank.add(gdstk.Reference(resistorbankinfullresist, (0,0)))
resistorbank.add(gdstk.Reference(resistorbankinfullresist, (0,3.688)))
resistorbank.add(gdstk.Reference(resistorbankinfullresist, (0,7.376)))
resistorbank.add(gdstk.Reference(resistorbankinfullresist, (0,11.064)))
resistorbank.add(gdstk.Reference(resistorbankinfullresist, (0,14.752)))
resistorbank.add(gdstk.Reference(resistorbankinfullresist, (0,18.44)))
resistorbank.add(gdstk.Reference(resistorbankinfullresist, (4.85,0)))
resistorbank.add(gdstk.Reference(resistorbankinfullresist, (4.85,3.688)))
resistorbank.add(gdstk.Reference(resistorbankinfullresist, (4.85,7.376)))
resistorbank.add(gdstk.Reference(resistorbankinfullresist, (4.85,11.064)))
resistorbank.add(gdstk.Reference(resistorbankinfullresist, (4.85,14.752)))
resistorbank.add(gdstk.Reference(resistorbankinfullresist, (4.85,18.44)))
resistorbank.add(gdstk.Reference(resistorbankinfullresist, (9.7,0)))
resistorbank.add(gdstk.Reference(resistorbankinfullresist, (9.7,3.688)))
resistorbank.add(gdstk.Reference(resistorbankinfullresist, (9.7,7.376)))
resistorbank.add(gdstk.Reference(resistorbankinfullresist, (9.7,11.064)))
resistorbank.add(gdstk.Reference(resistorbankinfullresist, (9.7,14.752)))
resistorbank.add(gdstk.Reference(resistorbankinfullresist, (9.7,18.44)))
resistorbank.add(gdstk.Reference(viamet42met5onvcminfullr, (0.071,2.71)))
resistorbank.add(gdstk.Reference(viamet42met5onvcminfullr, (0.071,10.086)))
resistorbank.add(gdstk.Reference(viamet42met5onvcminfullr, (0.071,17.462)))
resistorbank.add(gdstk.Reference(viamet42met5onvcminfullr, (4.921,2.71)))
resistorbank.add(gdstk.Reference(viamet42met5onvcminfullr, (4.921,10.086)))
resistorbank.add(gdstk.Reference(viamet42met5onvcminfullr, (4.921,17.462)))
resistorbank.add(gdstk.Reference(viamet42met5onvcminfullr, (9.771,2.71)))
resistorbank.add(gdstk.Reference(viamet42met5onvcminfullr, (9.771,10.086)))
resistorbank.add(gdstk.Reference(viamet42met5onvcminfullr, (9.771,17.462)))
resistorbank.add(gdstk.Reference(viamet52met6onvcminfullr, (-0.088,2.71)))
resistorbank.add(gdstk.Reference(viamet52met6onvcminfullr, (-0.088,10.086)))
resistorbank.add(gdstk.Reference(viamet52met6onvcminfullr, (-0.088,17.462)))
resistorbank.add(gdstk.Reference(viamet62met7onvrxinfullr, (2.13,6.246)))
resistorbank.add(gdstk.Reference(viamet62met7onvrxinfullr, (2.13,10.67)))
resistorbank.add(gdstk.Reference(viamet62met7onvrxinfullr, (2.13,15.096)))
resistorbank.add(gdstk.Reference(viamet62met7onvrxinfullr, (6.98,6.246)))
resistorbank.add(gdstk.Reference(viamet62met7onvrxinfullr, (6.98,10.67)))
resistorbank.add(gdstk.Reference(viamet62met7onvrxinfullr, (6.98,15.096)))
resistorbank.add(gdstk.Reference(viamet62met7onvrxinfullr, (11.83,6.246)))
resistorbank.add(gdstk.Reference(viamet62met7onvrxinfullr, (11.83,10.67)))
resistorbank.add(gdstk.Reference(viamet62met7onvrxinfullr, (11.83,15.096)))
resistorbank.add(gdstk.Reference(viamet62met7onvcminfullr, (-0.088,4.032)))
resistorbank.add(gdstk.Reference(viamet62met7onvcminfullr, (-0.088,8.458)))
resistorbank.add(gdstk.Reference(viamet62met7onvcminfullr, (-0.088,12.882)))
resistorbank.add(gdstk.Reference(viamet62met7onvcminfullr, (-0.088,17.308)))
resistorbank.add(gdstk.Label('S<0>', (-1.601,0.644), layer=31, texttype=20))
resistorbank.add(gdstk.Label('SB<0>', (-1.601,1.437), layer=31, texttype=20))
resistorbank.add(gdstk.Label('S<3>', (-1.601,4.332), layer=31, texttype=20))
resistorbank.add(gdstk.Label('SB<3>', (-1.601,5.125), layer=31, texttype=20))
resistorbank.add(gdstk.Label('S<6>', (-1.601,8.02), layer=31, texttype=20))
resistorbank.add(gdstk.Label('SB<6>', (-1.601,8.813), layer=31, texttype=20))
resistorbank.add(gdstk.Label('S<9>', (-1.601,11.708), layer=31, texttype=20))
resistorbank.add(gdstk.Label('SB<9>', (-1.601,12.501), layer=31, texttype=20))
resistorbank.add(gdstk.Label('S<12>', (-1.601,15.396), layer=31, texttype=20))
resistorbank.add(gdstk.Label('SB<12>', (-1.601,16.189), layer=31, texttype=20))
resistorbank.add(gdstk.Label('S<15>', (-1.601,19.084), layer=31, texttype=20))
resistorbank.add(gdstk.Label('SB<15>', (-1.601,19.877), layer=31, texttype=20))
resistorbank.add(gdstk.Label('S<1>', (3.249,0.644), layer=31, texttype=20))
resistorbank.add(gdstk.Label('SB<1>', (3.249,1.437), layer=31, texttype=20))
resistorbank.add(gdstk.Label('S<4>', (3.249,4.332), layer=31, texttype=20))
resistorbank.add(gdstk.Label('SB<4>', (3.249,5.125), layer=31, texttype=20))
resistorbank.add(gdstk.Label('S<7>', (3.249,8.02), layer=31, texttype=20))
resistorbank.add(gdstk.Label('SB<7>', (3.249,8.813), layer=31, texttype=20))
resistorbank.add(gdstk.Label('S<10>', (3.249,11.708), layer=31, texttype=20))
resistorbank.add(gdstk.Label('SB<10>', (3.249,12.501), layer=31, texttype=20))
resistorbank.add(gdstk.Label('S<13>', (3.249,15.396), layer=31, texttype=20))
resistorbank.add(gdstk.Label('SB<13>', (3.249,16.189), layer=31, texttype=20))
resistorbank.add(gdstk.Label('S<16>', (3.249,19.084), layer=31, texttype=20))
resistorbank.add(gdstk.Label('SB<16>', (3.249,19.877), layer=31, texttype=20))
resistorbank.add(gdstk.Label('S<2>', (8.099,0.644), layer=31, texttype=20))
resistorbank.add(gdstk.Label('SB<2>', (8.099,1.437), layer=31, texttype=20))
resistorbank.add(gdstk.Label('S<5>', (8.099,4.332), layer=31, texttype=20))
resistorbank.add(gdstk.Label('SB<5>', (8.099,5.125), layer=31, texttype=20))
resistorbank.add(gdstk.Label('S<8>', (8.099,8.02), layer=31, texttype=20))
resistorbank.add(gdstk.Label('SB<8>', (8.099,8.813), layer=31, texttype=20))
resistorbank.add(gdstk.Label('S<11>', (8.099,11.708), layer=31, texttype=20))
resistorbank.add(gdstk.Label('SB<11>', (8.099,12.501), layer=31, texttype=20))
resistorbank.add(gdstk.Label('S<14>', (8.099,15.396), layer=31, texttype=20))
resistorbank.add(gdstk.Label('SB<14>', (8.099,16.189), layer=31, texttype=20))
resistorbank.add(gdstk.Label('S<17>', (8.099,19.084), layer=31, texttype=20))
resistorbank.add(gdstk.Label('SB<17>', (8.099,19.877), layer=31, texttype=20))
resistorbank.add(gdstk.Label('VRX', (5.674,6.246), layer=46, texttype=20))
resistorbank.add(gdstk.Label('VRX', (5.674,10.67), layer=46, texttype=20))
resistorbank.add(gdstk.Label('VRX', (5.908,15.096), layer=46, texttype=20))
resistorbank.add(gdstk.Label('VDD', (-0.089,2.902), layer=15, texttype=20))
resistorbank.add(gdstk.Label('VDD', (-0.089,6.59), layer=15, texttype=20))
resistorbank.add(gdstk.Label('VDD', (-0.089,10.278), layer=15, texttype=20))
resistorbank.add(gdstk.Label('VDD', (-0.089,13.966), layer=15, texttype=20))
resistorbank.add(gdstk.Label('VDD', (-0.089,17.654), layer=15, texttype=20))
resistorbank.add(gdstk.Label('VDD', (-0.089,21.342), layer=15, texttype=20))
resistorbank.add(gdstk.Label('VDD', (4.761,2.902), layer=15, texttype=20))
resistorbank.add(gdstk.Label('VDD', (4.761,6.59), layer=15, texttype=20))
resistorbank.add(gdstk.Label('VDD', (4.761,10.278), layer=15, texttype=20))
resistorbank.add(gdstk.Label('VDD', (4.761,13.966), layer=15, texttype=20))
resistorbank.add(gdstk.Label('VDD', (4.761,17.654), layer=15, texttype=20))
resistorbank.add(gdstk.Label('VDD', (4.761,21.342), layer=15, texttype=20))
resistorbank.add(gdstk.Label('VDD', (9.611,2.902), layer=15, texttype=20))
resistorbank.add(gdstk.Label('VDD', (9.611,6.59), layer=15, texttype=20))
resistorbank.add(gdstk.Label('VDD', (9.611,10.278), layer=15, texttype=20))
resistorbank.add(gdstk.Label('VDD', (9.611,13.966), layer=15, texttype=20))
resistorbank.add(gdstk.Label('VDD', (9.611,17.654), layer=15, texttype=20))
resistorbank.add(gdstk.Label('VDD', (9.611,21.342), layer=15, texttype=20))
resistorbank.add(gdstk.Label('VSS', (-0.089,0.922), layer=15, texttype=20))
resistorbank.add(gdstk.Label('VSS', (-0.089,4.61), layer=15, texttype=20))
resistorbank.add(gdstk.Label('VSS', (-0.089,8.298), layer=15, texttype=20))
resistorbank.add(gdstk.Label('VSS', (-0.089,11.986), layer=15, texttype=20))
resistorbank.add(gdstk.Label('VSS', (-0.089,15.674), layer=15, texttype=20))
resistorbank.add(gdstk.Label('VSS', (-0.089,19.362), layer=15, texttype=20))
resistorbank.add(gdstk.Label('VSS', (4.761,0.922), layer=15, texttype=20))
resistorbank.add(gdstk.Label('VSS', (4.761,4.61), layer=15, texttype=20))
resistorbank.add(gdstk.Label('VSS', (4.761,8.298), layer=15, texttype=20))
resistorbank.add(gdstk.Label('VSS', (4.761,11.986), layer=15, texttype=20))
resistorbank.add(gdstk.Label('VSS', (4.761,15.674), layer=15, texttype=20))
resistorbank.add(gdstk.Label('VSS', (4.761,19.362), layer=15, texttype=20))
resistorbank.add(gdstk.Label('VSS', (9.611,0.922), layer=15, texttype=20))
resistorbank.add(gdstk.Label('VSS', (9.611,4.61), layer=15, texttype=20))
resistorbank.add(gdstk.Label('VSS', (9.611,8.298), layer=15, texttype=20))
resistorbank.add(gdstk.Label('VSS', (9.611,11.986), layer=15, texttype=20))
resistorbank.add(gdstk.Label('VSS', (9.611,15.674), layer=15, texttype=20))
resistorbank.add(gdstk.Label('VSS', (9.611,19.362), layer=15, texttype=20))
resistorbank.add(gdstk.Label('VCM', (5.674,4.032), layer=46, texttype=20))
resistorbank.add(gdstk.Label('VCM', (5.674,8.458), layer=46, texttype=20))
resistorbank.add(gdstk.Label('VCM', (5.674,12.882), layer=46, texttype=20))
resistorbank.add(gdstk.Label('VCM', (5.674,17.308), layer=46, texttype=20))

lib.write_gds('ResistorBank.gds')
